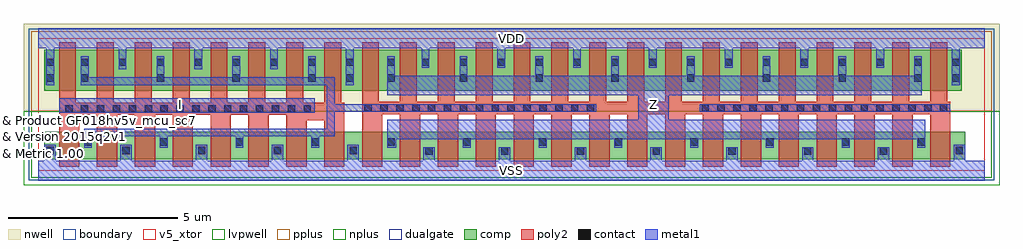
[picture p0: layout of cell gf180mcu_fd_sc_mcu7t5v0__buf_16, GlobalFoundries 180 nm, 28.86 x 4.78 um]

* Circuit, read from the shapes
.subckt gf180mcu_fd_sc_mcu7t5v0__buf_16 I VDD VSS Z
XM1 n1 I VSS VSUBS nfet_05v0 w=0.82u l=0.6u m=8
XM2 Z n1 VSS VSUBS nfet_05v0 w=0.82u l=0.6u m=16
XM3 n1 I VDD n2 pfet_05v0 w=1.22u l=0.5u m=8
XM4 Z n1 VDD n2 pfet_05v0 w=1.22u l=0.5u m=16
.ends

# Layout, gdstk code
import gdstk
lib = gdstk.Library(unit=1e-6, precision=1e-09)
def R(c, l, rs):  # rectangles x0, y0, x1, y1
    for r in rs: c.add(gdstk.rectangle(r[:2], r[2:], *l))
def A(c, l, x, y, w, h, nx, ny, dx, dy):  # array of equal rectangles
    R(c, l, [(x+i*dx, y+j*dy, x+i*dx+w, y+j*dy+h) for i in range(nx) for j in range(ny)])
def P(c, l, *ps):  # polygons
    for p in ps: c.add(gdstk.Polygon(p, *l))
boundary = (0, 0)
nwell = (21, 0)
comp = (22, 0)
poly2 = (30, 0)
pplus = (31, 0)
nplus = (32, 0)
contact = (33, 0)
metal1 = (34, 0)
dualgate = (55, 0)
v5_xtor = (112, 1)
lvpwell = (204, 0)

gf180mcu_fd_sc_mcu7t5v0_ = lib.new_cell('gf180mcu_fd_sc_mcu7t5v0__buf_16')
R(gf180mcu_fd_sc_mcu7t5v0_, boundary, [(0,0,28,3.92)])
R(gf180mcu_fd_sc_mcu7t5v0_, nwell, [(-0.43,1.76,28.43,4.35)])
R(gf180mcu_fd_sc_mcu7t5v0_, comp, [(0.18,0.34,27.42,1.16), (0.18,2.36,27.32,3.58)])
P(gf180mcu_fd_sc_mcu7t5v0_, poly2, [(0.62,0.12),(0.62,3.8),(1.12,3.8),(1.12,2.01),(1.74,2.01),(1.74,3.8),(2.24,3.8),(2.24,2.01),(2.86,2.01),(2.86,3.8),(3.36,3.8),(3.36,2.01),(3.98,2.01),(3.98,3.8),(4.48,3.8),(4.48,2.01),(5.1,2.01),(5.1,3.8),(5.6,3.8),(5.6,2.01),(6.22,2.01),(6.22,3.8),(6.72,3.8),(6.72,2.01),(7.34,2.01),(7.34,3.8),(7.84,3.8),(7.84,2.01),(8.46,2.01),(8.46,3.8),(8.96,3.8),(8.96,2.01),(9.06,2.01),(9.06,0.12),(8.46,0.12),(8.46,1.5),(7.94,1.5),(7.94,0.12),(7.34,0.12),(7.34,1.65),(6.82,1.65),(6.82,0.12),(6.22,0.12),(6.22,1.65),(5.7,1.65),(5.7,0.12),(5.1,0.12),(5.1,1.65),(4.58,1.65),(4.58,0.12),(3.98,0.12),(3.98,1.65),(3.46,1.65),(3.46,0.12),(2.86,0.12),(2.86,1.65),(2.34,1.65),(2.34,0.12),(1.74,0.12),(1.74,1.65),(1.22,1.65),(1.22,0.12)],
  [(9.58,0.12),(9.58,3.8),(10.08,3.8),(10.08,2.035),(10.7,2.035),(10.7,3.8),(11.2,3.8),(11.2,2.035),(11.82,2.035),(11.82,3.8),(12.32,3.8),(12.32,2.035),(12.94,2.035),(12.94,3.8),(13.44,3.8),(13.44,2.035),(14.06,2.035),(14.06,3.8),(14.56,3.8),(14.56,2.035),(15.18,2.035),(15.18,3.8),(15.68,3.8),(15.68,2.035),(16.3,2.035),(16.3,3.8),(16.8,3.8),(16.8,2.035),(17.42,2.035),(17.42,3.8),(17.92,3.8),(17.92,2.035),(18.54,2.035),(18.54,3.8),(19.04,3.8),(19.04,2.035),(19.66,2.035),(19.66,3.8),(20.16,3.8),(20.16,2.035),(20.78,2.035),(20.78,3.8),(21.28,3.8),(21.28,2.035),(21.9,2.035),(21.9,3.8),(22.4,3.8),(22.4,2.035),(23.02,2.035),(23.02,3.8),(23.52,3.8),(23.52,2.035),(24.14,2.035),(24.14,3.8),(24.64,3.8),(24.64,2.035),(25.26,2.035),(25.26,3.8),(25.76,3.8),(25.76,2.035),(26.38,2.035),(26.38,3.8),(26.88,3.8),(26.88,2.035),(26.98,2.035),(26.98,0.12),(26.38,0.12),(26.38,1.675),(25.86,1.675),(25.86,0.12),(25.26,0.12),(25.26,1.675),(24.74,1.675),(24.74,0.12),(24.14,0.12),(24.14,1.675),(23.62,1.675),(23.62,0.12),(23.02,0.12),(23.02,1.675),(22.5,1.675),(22.5,0.12),(21.9,0.12),(21.9,1.675),(21.38,1.675),(21.38,0.12),(20.78,0.12),(20.78,1.675),(20.26,1.675),(20.26,0.12),(19.66,0.12),(19.66,1.675),(19.14,1.675),(19.14,0.12),(18.54,0.12),(18.54,1.675),(18.02,1.675),(18.02,0.12),(17.42,0.12),(17.42,1.675),(16.9,1.675),(16.9,0.12),(16.3,0.12),(16.3,1.675),(15.78,1.675),(15.78,0.12),(15.18,0.12),(15.18,1.675),(14.66,1.675),(14.66,0.12),(14.06,0.12),(14.06,1.675),(13.54,1.675),(13.54,0.12),(12.94,0.12),(12.94,1.675),(12.42,1.675),(12.42,0.12),(11.82,0.12),(11.82,1.675),(11.3,1.675),(11.3,0.12),(10.7,0.12),(10.7,1.675),(10.18,1.675),(10.18,0.12)])
R(gf180mcu_fd_sc_mcu7t5v0_, pplus, [(-0.2,1.76,28.2,4.12)])
R(gf180mcu_fd_sc_mcu7t5v0_, nplus, [(-0.2,-0.2,28.2,1.76)])
A(gf180mcu_fd_sc_mcu7t5v0_, contact, 11.45, 0.475, 0.22, 0.22, 7, 1, 2.24, 0)
A(gf180mcu_fd_sc_mcu7t5v0_, contact, 0.25, 0.485, 0.22, 0.22, 5, 1, 2.24, 0)
A(gf180mcu_fd_sc_mcu7t5v0_, contact, 1.37, 0.735, 0.22, 0.22, 12, 1, 2.24, 0)
A(gf180mcu_fd_sc_mcu7t5v0_, contact, 0.8, 1.72, 0.22, 0.22, 16, 1, 0.47, 0)
A(gf180mcu_fd_sc_mcu7t5v0_, contact, 9.65, 1.745, 0.22, 0.22, 15, 1, 0.47, 0)
A(gf180mcu_fd_sc_mcu7t5v0_, contact, 19.62, 1.745, 0.22, 0.22, 16, 1, 0.47, 0)
A(gf180mcu_fd_sc_mcu7t5v0_, contact, 1.27, 2.63, 0.22, 0.22, 4, 1, 2.24, 0)
A(gf180mcu_fd_sc_mcu7t5v0_, contact, 12.47, 2.63, 0.22, 0.22, 7, 1, 2.24, 0)
A(gf180mcu_fd_sc_mcu7t5v0_, contact, 1.27, 3.1, 0.22, 0.22, 8, 1, 1.12, 0)
A(gf180mcu_fd_sc_mcu7t5v0_, contact, 11.35, 3.1, 0.22, 0.22, 15, 1, 1.12, 0)
R(gf180mcu_fd_sc_mcu7t5v0_, contact, [(27.13,0.485,27.35,0.705), (0.25,2.63,0.47,2.85), (9.11,2.63,9.33,2.85), (10.33,2.63,10.55,2.85), (27.03,2.63,27.25,2.85), (0.25,3.1,0.47,3.32), (10.33,3.1,10.55,3.32)])
R(gf180mcu_fd_sc_mcu7t5v0_, metal1, [(0.62,1.71,8.185,2.15), (19.56,1.74,26.98,1.97)])
P(gf180mcu_fd_sc_mcu7t5v0_, metal1, [(1.365,0.675),(1.365,1.25),(8.535,1.25),(8.535,2.53),(1.265,2.53),(1.265,3.38),(1.495,3.38),(1.495,2.76),(3.505,2.76),(3.505,3.38),(3.735,3.38),(3.735,2.76),(5.745,2.76),(5.745,3.38),(5.975,3.38),(5.975,2.76),(7.985,2.76),(7.985,3.38),(8.215,3.38),(8.215,2.76),(8.77,2.76),(8.77,1.97),(16.51,1.97),(16.51,1.74),(8.77,1.74),(8.77,1.015),(8.315,1.015),(8.315,0.675),(8.085,0.675),(8.085,1.015),(6.075,1.015),(6.075,0.675),(5.845,0.675),(5.845,1.015),(3.835,1.015),(3.835,0.675),(3.605,0.675),(3.605,1.015),(1.595,1.015),(1.595,0.675)],
  [(10.325,0.675),(10.325,1.51),(17.75,1.51),(17.75,2.23),(10.325,2.23),(10.325,3.38),(10.555,3.38),(10.555,2.81),(12.465,2.81),(12.465,3.38),(12.695,3.38),(12.695,2.81),(14.705,2.81),(14.705,3.38),(14.935,3.38),(14.935,2.81),(16.945,2.81),(16.945,3.38),(17.175,3.38),(17.175,2.81),(19.185,2.81),(19.185,3.38),(19.415,3.38),(19.415,2.81),(21.425,2.81),(21.425,3.38),(21.655,3.38),(21.655,2.81),(23.665,2.81),(23.665,3.38),(23.895,3.38),(23.895,2.81),(25.905,2.81),(25.905,3.38),(26.135,3.38),(26.135,2.23),(18.65,2.23),(18.65,1.51),(26.235,1.51),(26.235,0.675),(26.005,0.675),(26.005,0.93),(23.995,0.93),(23.995,0.675),(23.765,0.675),(23.765,0.93),(21.755,0.93),(21.755,0.675),(21.525,0.675),(21.525,0.93),(19.515,0.93),(19.515,0.675),(19.285,0.675),(19.285,0.93),(17.275,0.93),(17.275,0.675),(17.045,0.675),(17.045,0.93),(15.035,0.93),(15.035,0.675),(14.805,0.675),(14.805,0.93),(12.795,0.93),(12.795,0.675),(12.565,0.675),(12.565,0.93),(10.585,0.93),(10.585,0.675)],
  [(0,-0.3),(0,0.3),(0.19,0.3),(0.19,0.765),(0.53,0.765),(0.53,0.3),(2.43,0.3),(2.43,0.765),(2.77,0.765),(2.77,0.3),(4.67,0.3),(4.67,0.765),(5.01,0.765),(5.01,0.3),(6.91,0.3),(6.91,0.765),(7.25,0.765),(7.25,0.3),(9.15,0.3),(9.15,0.765),(9.49,0.765),(9.49,0.3),(11.39,0.3),(11.39,0.7),(11.73,0.7),(11.73,0.3),(13.63,0.3),(13.63,0.7),(13.97,0.7),(13.97,0.3),(15.87,0.3),(15.87,0.7),(16.21,0.7),(16.21,0.3),(18.11,0.3),(18.11,0.7),(18.45,0.7),(18.45,0.3),(20.35,0.3),(20.35,0.7),(20.69,0.7),(20.69,0.3),(22.59,0.3),(22.59,0.7),(22.93,0.7),(22.93,0.3),(24.83,0.3),(24.83,0.7),(25.17,0.7),(25.17,0.3),(27.07,0.3),(27.07,0.765),(27.41,0.765),(27.41,0.3),(28,0.3),(28,-0.3)],
  [(0.245,2.53),(0.245,3.62),(0,3.62),(0,4.22),(28,4.22),(28,3.62),(27.255,3.62),(27.255,2.53),(27.025,2.53),(27.025,3.62),(25.015,3.62),(25.015,3.04),(24.785,3.04),(24.785,3.62),(22.775,3.62),(22.775,3.04),(22.545,3.04),(22.545,3.62),(20.535,3.62),(20.535,3.04),(20.305,3.04),(20.305,3.62),(18.295,3.62),(18.295,3.04),(18.065,3.04),(18.065,3.62),(16.055,3.62),(16.055,3.04),(15.825,3.04),(15.825,3.62),(13.815,3.62),(13.815,3.04),(13.585,3.04),(13.585,3.62),(11.575,3.62),(11.575,3.04),(11.345,3.04),(11.345,3.62),(9.335,3.62),(9.335,2.53),(9.105,2.53),(9.105,3.62),(7.095,3.62),(7.095,3),(6.865,3),(6.865,3.62),(4.855,3.62),(4.855,3),(4.625,3),(4.625,3.62),(2.615,3.62),(2.615,3),(2.385,3),(2.385,3.62),(0.475,3.62),(0.475,2.53)])
R(gf180mcu_fd_sc_mcu7t5v0_, dualgate, [(-0.28,-0.28,28.28,4.2)])
R(gf180mcu_fd_sc_mcu7t5v0_, v5_xtor, [(0,0,28,3.92)])
R(gf180mcu_fd_sc_mcu7t5v0_, lvpwell, [(-0.43,-0.43,28.43,1.76)])
gf180mcu_fd_sc_mcu7t5v0_.add(gdstk.Label('Z', (18.2,1.96), layer=34, texttype=10))
gf180mcu_fd_sc_mcu7t5v0_.add(gdstk.Label('I', (4.2,1.96), layer=34, texttype=10))
gf180mcu_fd_sc_mcu7t5v0_.add(gdstk.Label('VDD', (14,3.92), layer=34, texttype=10))
gf180mcu_fd_sc_mcu7t5v0_.add(gdstk.Label('VSS', (14,0), layer=34, texttype=10))
gf180mcu_fd_sc_mcu7t5v0_.add(gdstk.Label('& Vendor GLOBALFOUNDRIES', (0,2), layer=63, texttype=63))
gf180mcu_fd_sc_mcu7t5v0_.add(gdstk.Label('& Product GF018hv5v_mcu_sc7', (0,1.5), layer=63, texttype=63))
gf180mcu_fd_sc_mcu7t5v0_.add(gdstk.Label('& Version 2015q2v1', (0,1), layer=63, texttype=63))
gf180mcu_fd_sc_mcu7t5v0_.add(gdstk.Label('& Metric 1.00', (0,0.5), layer=63, texttype=63))

lib.write_gds('gf180mcu_fd_sc_mcu7t5v0__buf_16.gds')
